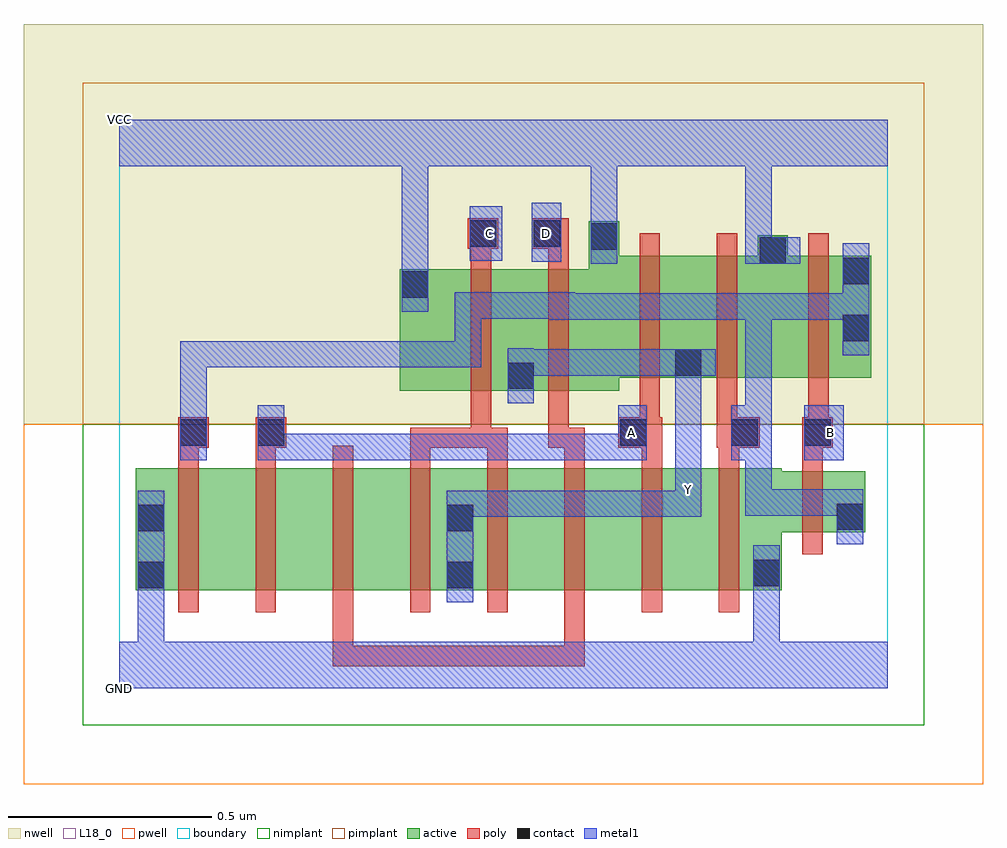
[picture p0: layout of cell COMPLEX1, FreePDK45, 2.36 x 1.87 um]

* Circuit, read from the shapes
.subckt COMPLEX1 A B C D GND VCC Y
M1 n1 n2 GND VSUBS nfet w=0.3u l=0.05u
M2 n3 A n1 VSUBS nfet w=0.3u l=0.05u
M3 n4 D n3 VSUBS nfet w=0.3u l=0.05u
M4 Y C n4 VSUBS nfet w=0.3u l=0.05u
M5 n5 C Y VSUBS nfet w=0.3u l=0.05u
M6 n6 D n5 VSUBS nfet w=0.3u l=0.05u
M7 n7 A n6 VSUBS nfet w=0.3u l=0.05u
M8 GND n2 n7 VSUBS nfet w=0.3u l=0.05u
M9 n2 B GND VSUBS nfet w=0.15u l=0.05u
M10 Y C VCC n8 pfet w=0.3u l=0.05u
M11 VCC D Y n8 pfet w=0.3u l=0.05u
M12 Y A VCC n8 pfet w=0.3u l=0.05u
M13 VCC n2 Y n8 pfet w=0.3u l=0.05u
M14 n2 B VCC n8 pfet w=0.3u l=0.05u
.ends

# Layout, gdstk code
import gdstk
lib = gdstk.Library(unit=1e-6, precision=1e-09)
def R(c, l, rs):  # rectangles x0, y0, x1, y1
    for r in rs: c.add(gdstk.rectangle(r[:2], r[2:], *l))
def A(c, l, x, y, w, h, nx, ny, dx, dy):  # array of equal rectangles
    R(c, l, [(x+i*dx, y+j*dy, x+i*dx+w, y+j*dy+h) for i in range(nx) for j in range(ny)])
active = (1, 0)
pwell = (2, 0)
nwell = (3, 0)
nimplant = (4, 0)
pimplant = (5, 0)
poly = (9, 0)
contact = (10, 0)
metal1 = (11, 0)
L18_0 = (18, 0)
boundary = (235, 0)

complex1 = lib.new_cell('COMPLEX1')
R(complex1, active, [(0.04,0.242,0.265,0.542), (0.04,0.242,0.115,0.542), (0.265,0.242,0.455,0.542), (0.455,0.242,0.645,0.542), (0.645,0.242,0.875,0.542), (0.8,0.242,1.025,0.542), (0.8,0.242,0.875,0.517), (1.025,0.242,1.215,0.542), (1.215,0.242,1.405,0.542), (1.405,0.242,1.63,0.542), (1.555,0.247,1.63,0.385), (1.555,0.385,1.835,0.535), (1.76,0.385,1.835,0.535), (0.69,0.732,0.765,1.032), (0.69,0.732,1.025,1.032), (0.95,0.732,1.23,1.032), (0.95,0.732,1.025,0.897), (1.155,0.765,1.437,1.065), (1.362,0.765,1.645,1.065), (1.362,0.765,1.437,1.005), (1.57,0.765,1.85,1.065), (1.775,0.765,1.85,1.065), (1.57,0.93,1.645,1.115), (1.155,0.947,1.23,1.15)])
R(complex1, pwell, [(-0.235,-0.235,2.125,0.65)])
R(complex1, nwell, [(-0.235,0.65,2.125,1.635)])
R(complex1, nimplant, [(-0.09,-0.09,1.98,0.65)])
R(complex1, pimplant, [(-0.09,0.65,1.98,1.49)])
A(complex1, poly, 0.145, 0.187, 0.05, 0.41, 8, 1, 0.19, 0)
A(complex1, poly, 0.715, 0.547, 0.05, 0.095, 5, 1, 0.19, 0)
R(complex1, poly, [(0.525,0.055,0.575,0.237), (0.525,0.055,0.575,0.105), (0.525,0.055,0.575,0.105), (0.525,0.055,0.575,0.105), (0.525,0.055,0.765,0.105), (0.715,0.055,0.765,0.105), (0.715,0.055,0.765,0.105), (0.715,0.055,0.765,0.105), (0.715,0.055,0.897,0.105), (0.847,0.055,0.897,0.105), (0.847,0.055,1.145,0.105), (1.095,0.055,1.145,0.237), (1.095,0.055,1.145,0.105), (1.095,0.055,1.145,0.105), (1.095,0.055,1.145,0.105), (1.68,0.33,1.73,0.59), (1.68,0.54,1.73,0.642), (0.145,0.547,0.195,0.642), (0.335,0.547,0.385,0.642), (0.145,0.592,0.22,0.667), (0.335,0.592,0.41,0.667), (0.715,0.592,0.765,0.642), (0.715,0.592,0.915,0.642), (0.865,0.592,0.915,0.727), (0.865,0.592,0.955,0.642), (0.865,0.592,0.915,0.642), (0.865,0.592,0.915,0.642), (1.055,0.592,1.105,0.727), (1.055,0.592,1.145,0.642), (1.227,0.592,1.335,0.667), (1.47,0.592,1.575,0.667), (1.68,0.592,1.755,0.667), (1.28,0.617,1.33,0.76), (1.47,0.617,1.52,0.76), (1.695,0.617,1.745,0.76), (0.865,0.677,0.915,1.087), (1.055,0.677,1.105,1.087), (1.28,0.71,1.33,1.12), (1.47,0.71,1.52,1.12), (1.695,0.71,1.745,1.12), (0.865,1.037,0.915,1.132), (1.055,1.037,1.105,1.132), (0.857,1.082,0.932,1.157), (1.015,1.082,1.105,1.157)])
R(complex1, contact, [(0.045,0.247,0.11,0.312), (0.805,0.247,0.87,0.312), (1.56,0.252,1.625,0.317), (0.045,0.387,0.11,0.452), (0.805,0.387,0.87,0.452), (1.765,0.39,1.83,0.455), (0.15,0.597,0.215,0.662), (0.34,0.597,0.405,0.662), (1.232,0.597,1.297,0.662), (1.505,0.597,1.57,0.662), (1.685,0.597,1.75,0.662), (0.955,0.737,1.02,0.802), (1.367,0.77,1.432,0.835), (1.78,0.855,1.845,0.92), (0.695,0.962,0.76,1.027), (1.78,0.995,1.845,1.06), (1.575,1.045,1.64,1.11), (1.16,1.08,1.225,1.145), (0.862,1.087,0.927,1.152), (1.02,1.087,1.085,1.152)])
R(complex1, metal1, [(0,0,1.89,0.115), (0.045,0.05,0.11,0.115), (0.045,0.05,0.11,0.115), (0.045,0.05,0.11,0.277), (1.56,0.05,1.625,0.115), (1.56,0.05,1.625,0.115), (1.56,0.05,1.625,0.282), (0.045,0.212,0.11,0.487), (0.805,0.212,0.87,0.487), (1.56,0.217,1.625,0.352), (1.765,0.355,1.83,0.49), (0.805,0.422,0.87,0.487), (0.805,0.422,0.87,0.487), (0.805,0.422,1.055,0.487), (0.99,0.422,1.055,0.487), (0.99,0.422,1.055,0.487), (0.99,0.422,1.055,0.487), (0.99,0.422,1.26,0.487), (1.195,0.422,1.26,0.487), (1.195,0.422,1.26,0.487), (1.195,0.422,1.26,0.487), (1.195,0.422,1.432,0.487), (1.367,0.422,1.432,0.487), (1.367,0.422,1.432,0.487), (1.367,0.422,1.432,0.557), (1.54,0.425,1.605,0.49), (1.54,0.425,1.83,0.49), (1.54,0.425,1.605,0.627), (1.765,0.425,1.83,0.49), (1.765,0.425,1.83,0.49), (1.367,0.492,1.432,0.835), (0.15,0.562,0.215,0.697), (0.34,0.562,0.405,0.627), (0.34,0.562,0.405,0.627), (0.34,0.562,0.405,0.697), (0.34,0.562,0.542,0.627), (0.477,0.562,0.542,0.627), (0.477,0.562,0.542,0.627), (0.477,0.562,0.542,0.627), (0.477,0.562,0.722,0.627), (0.657,0.562,0.722,0.627), (0.657,0.562,0.882,0.627), (0.817,0.562,0.882,0.627), (0.817,0.562,0.882,0.627), (0.817,0.562,0.882,0.627), (0.817,0.562,1.055,0.627), (0.99,0.562,1.055,0.627), (0.99,0.562,1.055,0.627), (0.99,0.562,1.055,0.627), (0.99,0.562,1.26,0.627), (1.195,0.562,1.26,0.627), (1.195,0.562,1.292,0.627), (1.227,0.562,1.297,0.697), (1.505,0.562,1.57,0.697), (1.505,0.562,1.605,0.627), (1.54,0.562,1.605,0.627), (1.54,0.562,1.605,0.972), (1.685,0.562,1.782,0.697), (0.15,0.632,0.215,0.697), (0.15,0.632,0.215,0.697), (0.15,0.632,0.215,0.855), (0.955,0.702,1.02,0.837), (0.955,0.77,1.027,0.835), (0.962,0.77,1.027,0.835), (0.962,0.77,1.192,0.835), (1.127,0.77,1.192,0.835), (1.127,0.77,1.397,0.835), (1.332,0.77,1.397,0.835), (1.332,0.77,1.397,0.835), (1.332,0.77,1.467,0.835), (0.15,0.79,0.215,0.855), (0.15,0.79,0.405,0.855), (0.34,0.79,0.405,0.855), (0.34,0.79,0.405,0.855), (0.34,0.79,0.405,0.855), (0.34,0.79,0.585,0.855), (0.52,0.79,0.585,0.855), (0.52,0.79,0.585,0.855), (0.52,0.79,0.585,0.855), (0.52,0.79,0.732,0.855), (0.667,0.79,0.732,0.855), (0.667,0.79,0.732,0.855), (0.667,0.79,0.732,0.855), (0.667,0.79,0.732,0.855), (0.667,0.79,0.732,0.855), (0.667,0.79,0.89,0.855), (0.825,0.79,0.89,0.975), (1.78,0.82,1.845,1.095), (1.057,0.907,1.26,0.972), (1.057,0.907,1.122,0.975), (1.195,0.907,1.26,0.972), (1.195,0.907,1.26,0.972), (1.195,0.907,1.26,0.972), (1.195,0.907,1.467,0.972), (1.402,0.907,1.467,0.972), (1.402,0.907,1.605,0.972), (1.54,0.907,1.605,0.972), (1.54,0.907,1.605,0.972), (1.54,0.907,1.605,0.972), (1.54,0.907,1.605,0.972), (1.54,0.907,1.605,0.972), (1.54,0.907,1.845,0.972), (1.78,0.907,1.845,0.972), (1.78,0.907,1.845,0.972), (0.825,0.91,1.02,0.975), (0.955,0.91,1.02,0.975), (0.955,0.91,1.122,0.975), (0.695,0.927,0.76,1.062), (0.695,0.997,0.76,1.35), (1.16,1.045,1.225,1.18), (1.54,1.045,1.605,1.35), (1.54,1.045,1.675,1.11), (1.015,1.05,1.087,1.195), (0.862,1.052,0.942,1.187), (1.16,1.115,1.225,1.35), (0,1.285,1.89,1.4), (0.695,1.285,0.76,1.35), (0.695,1.285,0.76,1.35), (0.695,1.285,0.76,1.35), (0.695,1.285,0.76,1.35), (1.16,1.285,1.225,1.35), (1.16,1.285,1.225,1.35), (1.16,1.285,1.225,1.35), (1.16,1.285,1.225,1.35), (1.54,1.285,1.605,1.35), (1.54,1.285,1.605,1.35), (1.54,1.285,1.605,1.35), (1.54,1.285,1.605,1.35)])
R(complex1, L18_0, [(0,0,1.89,0.115), (0.045,0.05,0.11,0.115), (0.045,0.05,0.11,0.115), (0.045,0.05,0.11,0.277), (1.56,0.05,1.625,0.115), (1.56,0.05,1.625,0.115), (1.56,0.05,1.625,0.282), (0.045,0.212,0.11,0.487), (0.805,0.212,0.87,0.487), (1.56,0.217,1.625,0.352), (0.805,0.422,0.87,0.487), (0.805,0.422,0.87,0.487), (0.805,0.422,1.055,0.487), (0.99,0.422,1.055,0.487), (0.99,0.422,1.055,0.487), (0.99,0.422,1.055,0.487), (0.99,0.422,1.26,0.487), (1.195,0.422,1.26,0.487), (1.195,0.422,1.26,0.487), (1.195,0.422,1.26,0.487), (1.195,0.422,1.432,0.487), (1.367,0.422,1.432,0.487), (1.367,0.422,1.432,0.487), (1.367,0.422,1.432,0.557), (1.367,0.457,1.432,0.522), (1.367,0.492,1.432,0.835), (0.34,0.562,0.405,0.627), (0.34,0.562,0.405,0.627), (0.34,0.562,0.405,0.697), (0.34,0.562,0.542,0.627), (0.477,0.562,0.542,0.627), (0.477,0.562,0.542,0.627), (0.477,0.562,0.542,0.627), (0.477,0.562,0.722,0.627), (0.657,0.562,0.722,0.627), (0.657,0.562,0.882,0.627), (0.817,0.562,0.882,0.627), (0.817,0.562,0.882,0.627), (0.817,0.562,0.882,0.627), (0.817,0.562,1.055,0.627), (0.99,0.562,1.055,0.627), (0.99,0.562,1.055,0.627), (0.99,0.562,1.055,0.627), (0.99,0.562,1.26,0.627), (1.195,0.562,1.26,0.627), (1.195,0.562,1.292,0.627), (1.227,0.562,1.297,0.697), (1.685,0.562,1.782,0.697), (1.227,0.597,1.292,0.662), (1.717,0.597,1.782,0.662), (0.955,0.702,1.02,0.837), (0.955,0.77,1.027,0.835), (0.962,0.77,1.027,0.835), (0.962,0.77,1.192,0.835), (1.127,0.77,1.192,0.835), (1.127,0.77,1.397,0.835), (1.332,0.77,1.397,0.835), (1.332,0.77,1.397,0.835), (1.332,0.77,1.467,0.835), (0.695,0.927,0.76,1.062), (0.695,0.997,0.76,1.35), (1.16,1.045,1.225,1.18), (1.54,1.045,1.675,1.11), (1.54,1.045,1.605,1.35), (1.015,1.05,1.087,1.195), (0.862,1.052,0.942,1.187), (0.877,1.087,0.942,1.152), (1.017,1.087,1.082,1.152), (1.16,1.115,1.225,1.35), (0,1.285,1.89,1.4), (0.695,1.285,0.76,1.35), (0.695,1.285,0.76,1.35), (0.695,1.285,0.76,1.35), (0.695,1.285,0.76,1.35), (1.16,1.285,1.225,1.35), (1.16,1.285,1.225,1.35), (1.16,1.285,1.225,1.35), (1.16,1.285,1.225,1.35), (1.54,1.285,1.605,1.35), (1.54,1.285,1.605,1.35), (1.54,1.285,1.605,1.35), (1.54,1.285,1.605,1.35)])
R(complex1, boundary, [(0,0,1.89,1.4)])
complex1.add(gdstk.Label('A', (1.26,0.63), layer=11, texttype=0))
complex1.add(gdstk.Label('B', (1.75,0.63), layer=11, texttype=0))
complex1.add(gdstk.Label('C', (0.91,1.12), layer=11, texttype=0))
complex1.add(gdstk.Label('D', (1.05,1.12), layer=11, texttype=0))
complex1.add(gdstk.Label('Y', (1.4,0.49), layer=11, texttype=0))
complex1.add(gdstk.Label('VCC', (0,1.4), layer=11, texttype=0))
complex1.add(gdstk.Label('GND', (0,0), layer=11, texttype=0))

lib.write_gds('COMPLEX1.gds')
